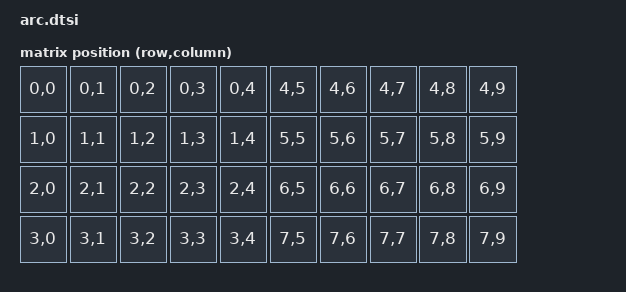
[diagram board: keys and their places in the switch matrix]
/ {
    chosen {
        zmk,kscan = &kscan0;
        zmk,matrix_transform = &default_transform;
    };

    default_transform: keymap_transform_0 {
        compatible = "zmk,matrix-transform";
        columns = <10>;
        rows = <8>;
        map = <
            RC(0,0) RC(0,1) RC(0,2) RC(0,3) RC(0,4)  RC(4,5) RC(4,6) RC(4,7) RC(4,8) RC(4,9)
            RC(1,0) RC(1,1) RC(1,2) RC(1,3) RC(1,4)  RC(5,5) RC(5,6) RC(5,7) RC(5,8) RC(5,9)
            RC(2,0) RC(2,1) RC(2,2) RC(2,3) RC(2,4)  RC(6,5) RC(6,6) RC(6,7) RC(6,8) RC(6,9)
            RC(3,0) RC(3,1) RC(3,2) RC(3,3) RC(3,4)  RC(7,5) RC(7,6) RC(7,7) RC(7,8) RC(7,9)
        >;
    };

    kscan0: kscan_0 {
        compatible = "zmk,kscan-gpio-matrix";
        wakeup-source;
        diode-direction = "row2col";
    };
};
